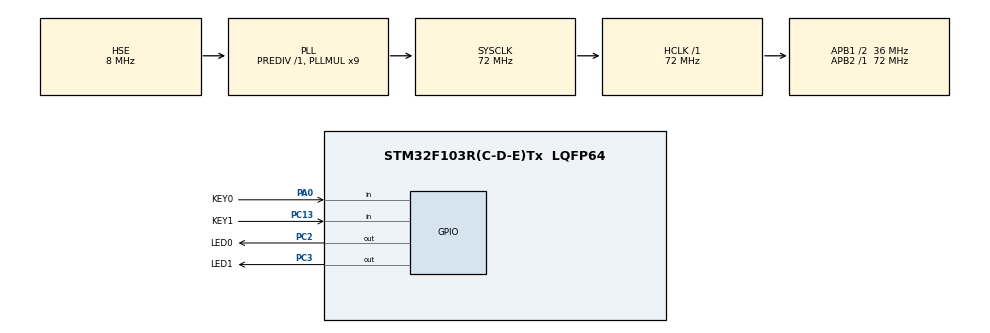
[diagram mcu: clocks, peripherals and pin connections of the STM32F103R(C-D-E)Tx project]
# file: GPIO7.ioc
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Mcu.Family=STM32F1
Mcu.Name=STM32F103R(C-D-E)Tx
Mcu.Package=LQFP64
NVIC.PriorityGroup=NVIC_PRIORITYGROUP_4
PA0-WKUP.GPIO_Label=KEY0
PA0-WKUP.Signal=GPIO_Input
PA13.Mode=Serial_Wire
PA13.Signal=SYS_JTMS-SWDIO
PA14.Mode=Serial_Wire
PA14.Signal=SYS_JTCK-SWCLK
PC13-TAMPER-RTC.GPIO_Label=KEY1
PC13-TAMPER-RTC.Signal=GPIO_Input
PC2.GPIO_Label=LED0
PC2.PinState=GPIO_PIN_SET
PC2.Signal=GPIO_Output
PC3.GPIO_Label=LED1
PC3.PinState=GPIO_PIN_SET
PC3.Signal=GPIO_Output
PD0-OSC_IN.Mode=HSE-External-Oscillator
PD0-OSC_IN.Signal=RCC_OSC_IN
PD1-OSC_OUT.Mode=HSE-External-Oscillator
PD1-OSC_OUT.Signal=RCC_OSC_OUT
ProjectManager.HeapSize=0x200
ProjectManager.StackSize=0x400
ProjectManager.TargetToolchain=MDK-ARM V5.32
RCC.AHBFreq_Value=72000000
RCC.APB1CLKDivider=RCC_HCLK_DIV2
RCC.APB1Freq_Value=36000000
RCC.APB1TimFreq_Value=72000000
RCC.APB2Freq_Value=72000000
RCC.APB2TimFreq_Value=72000000
RCC.HCLKFreq_Value=72000000
RCC.PLLMUL=RCC_PLL_MUL9
RCC.PLLSourceVirtual=RCC_PLLSOURCE_HSE
RCC.SYSCLKFreq_VALUE=72000000
RCC.SYSCLKSource=RCC_SYSCLKSOURCE_PLLCLK
RCC.USBFreq_Value=72000000
board=custom

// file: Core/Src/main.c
/* USER CODE BEGIN Header */
/**
  ******************************************************************************
  * @file           : main.c
  * @brief          : Main program body
  ******************************************************************************
  * @attention
  *
  * Copyright (c) 2025 STMicroelectronics.
  * All rights reserved.
  *
  * This software is licensed under terms that can be found in the LICENSE file
  * in the root directory of this software component.
  * If no LICENSE file comes with this software, it is provided AS-IS.
  *
  ******************************************************************************
  */
/* USER CODE END Header */
#include "main.h"
#include "gpio.h"

/* USER CODE BEGIN PD */
#define delay_0 250
#define delay_1 500
/* USER CODE END PD */

void SystemClock_Config(void);

/* USER CODE BEGIN 0 */
int LASTKEY0state0 = 0;
int LASTKEY0state1 = 0;
/* USER CODE END 0 */

int main(void)
{

  /* MCU Configuration--------------------------------------------------------*/

  /* Reset of all peripherals, Initializes the Flash interface and the Systick. */
  HAL_Init();

  /* Configure the system clock */
  SystemClock_Config();

  /* Initialize all configured peripherals */
  MX_GPIO_Init();
  /* USER CODE BEGIN 2 */
  uint32_t last_0 = 0;
  uint32_t last_1 = 0;
  uint8_t led0Blinking = 0;  // LED0��˸��־
  uint8_t led1Blinking = 0;  // LED1��˸��־
  /* USER CODE END 2 */

  /* Infinite loop */
  /* USER CODE BEGIN WHILE */
while (1)
  {
	  uint32_t cur_0 = HAL_GetTick();
	  uint32_t cur_1 = HAL_GetTick();
	  int currentState0 = HAL_GPIO_ReadPin(KEY0_GPIO_Port,KEY0_Pin );
	  int currentState1 = HAL_GPIO_ReadPin(KEY1_GPIO_Port,KEY1_Pin );

	if(currentState0 != LASTKEY0state0 )
	{
		LASTKEY0state0 = currentState0;
		if(currentState0 == 0)
		{
			led0Blinking = 1;
			led1Blinking = 0;
			HAL_GPIO_WritePin(LED1_GPIO_Port,LED1_Pin,GPIO_PIN_SET);
		}
	}
	if(led0Blinking == 1)
	{
		if(cur_0 - last_0 >= delay_0)
		{
			last_0 = cur_0;
			HAL_GPIO_TogglePin(LED0_GPIO_Port, LED0_Pin);
		}
    }
	if(currentState1 != LASTKEY0state1 )
	{
		LASTKEY0state1 = currentState1;
		if(currentState1 == 0)
		{
			led0Blinking = 0;
			led1Blinking = 1;
			HAL_GPIO_WritePin(LED0_GPIO_Port,LED0_Pin,GPIO_PIN_SET);
		}
	}
		if(led1Blinking == 1)
		{
			if(cur_1 - last_1 >= delay_1)
			{
				last_1 = cur_1;
				HAL_GPIO_TogglePin(LED1_GPIO_Port, LED1_Pin);
			}
		}
    /* USER CODE END WHILE */

  }
}

void SystemClock_Config(void)
{
  RCC_OscInitTypeDef RCC_OscInitStruct = {0};
  RCC_ClkInitTypeDef RCC_ClkInitStruct = {0};

  /** Initializes the RCC Oscillators according to the specified parameters
  * in the RCC_OscInitTypeDef structure.
  */
  RCC_OscInitStruct.OscillatorType = RCC_OSCILLATORTYPE_HSE;
  RCC_OscInitStruct.HSEState = RCC_HSE_ON;
  RCC_OscInitStruct.HSEPredivValue = RCC_HSE_PREDIV_DIV1;
  RCC_OscInitStruct.HSIState = RCC_HSI_ON;
  RCC_OscInitStruct.PLL.PLLState = RCC_PLL_ON;
  RCC_OscInitStruct.PLL.PLLSource = RCC_PLLSOURCE_HSE;
  RCC_OscInitStruct.PLL.PLLMUL = RCC_PLL_MUL9;
  if (HAL_RCC_OscConfig(&RCC_OscInitStruct) != HAL_OK)
  {
    Error_Handler();
  }

  /** Initializes the CPU, AHB and APB buses clocks
  */
  RCC_ClkInitStruct.ClockType = RCC_CLOCKTYPE_HCLK|RCC_CLOCKTYPE_SYSCLK
                              |RCC_CLOCKTYPE_PCLK1|RCC_CLOCKTYPE_PCLK2;
  RCC_ClkInitStruct.SYSCLKSource = RCC_SYSCLKSOURCE_PLLCLK;
  RCC_ClkInitStruct.AHBCLKDivider = RCC_SYSCLK_DIV1;
  RCC_ClkInitStruct.APB1CLKDivider = RCC_HCLK_DIV2;
  RCC_ClkInitStruct.APB2CLKDivider = RCC_HCLK_DIV1;

  if (HAL_RCC_ClockConfig(&RCC_ClkInitStruct, FLASH_LATENCY_2) != HAL_OK)
  {
    Error_Handler();
  }
}

void Error_Handler(void)
{
  __disable_irq();
  while (1)
  {
  }
}
